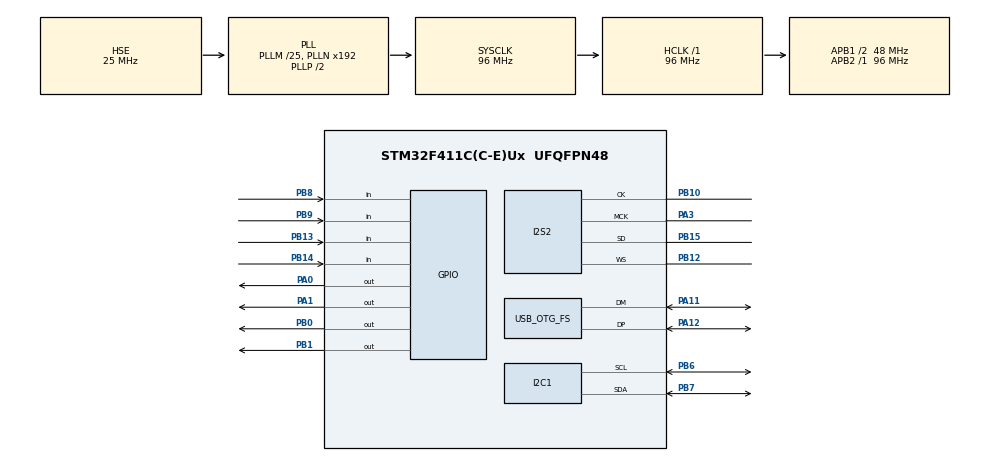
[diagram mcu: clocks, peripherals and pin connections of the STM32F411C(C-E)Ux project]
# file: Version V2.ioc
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Dma.Request0=SPI2_TX
Dma.SPI2_TX.0.Direction=DMA_MEMORY_TO_PERIPH
Dma.SPI2_TX.0.FIFOMode=DMA_FIFOMODE_DISABLE
Dma.SPI2_TX.0.Instance=DMA1_Stream4
Dma.SPI2_TX.0.MemDataAlignment=DMA_MDATAALIGN_HALFWORD
Dma.SPI2_TX.0.MemInc=DMA_MINC_ENABLE
Dma.SPI2_TX.0.Mode=DMA_CIRCULAR
Dma.SPI2_TX.0.PeriphDataAlignment=DMA_PDATAALIGN_HALFWORD
Dma.SPI2_TX.0.PeriphInc=DMA_PINC_DISABLE
Dma.SPI2_TX.0.Priority=DMA_PRIORITY_LOW
I2S2.AudioFreq=I2S_AUDIOFREQ_48K
I2S2.DataFormat=I2S_DATAFORMAT_24B
I2S2.ErrorAudioFreq=1.72 %
I2S2.FullDuplexMode=I2S_FULLDUPLEXMODE_DISABLE
I2S2.Instance=SPI$Index
I2S2.RealAudioFreq=48.828 KHz
I2S2.VirtualMode=I2S_MODE_MASTER
Mcu.Family=STM32F4
Mcu.Name=STM32F411C(C-E)Ux
Mcu.Package=UFQFPN48
NVIC.DMA1_Stream4_IRQn=true\:0\:0\:false\:false\:true\:false\:true\:true
NVIC.OTG_FS_IRQn=true\:0\:0\:false\:false\:true\:false\:true\:true
NVIC.PriorityGroup=NVIC_PRIORITYGROUP_4
PA0-WKUP.PinState=GPIO_PIN_SET
PA0-WKUP.Signal=GPIO_Output
PA1.PinState=GPIO_PIN_SET
PA1.Signal=GPIO_Output
PA11.Mode=Device_Only
PA11.Signal=USB_OTG_FS_DM
PA12.Mode=Device_Only
PA12.Signal=USB_OTG_FS_DP
PA13.Mode=Serial_Wire
PA13.Signal=SYS_JTMS-SWDIO
PA14.Mode=Serial_Wire
PA14.Signal=SYS_JTCK-SWCLK
PA3.Mode=Master_Clock_Activated
PA3.Signal=I2S2_MCK
PB0.PinState=GPIO_PIN_SET
PB0.Signal=GPIO_Output
PB1.PinState=GPIO_PIN_SET
PB1.Signal=GPIO_Output
PB10.Mode=Half_Duplex_Master
PB10.Signal=I2S2_CK
PB12.Mode=Half_Duplex_Master
PB12.Signal=I2S2_WS
PB13.GPIO_PuPd=GPIO_PULLUP
PB13.Signal=GPIO_Input
PB14.GPIO_PuPd=GPIO_PULLUP
PB14.Signal=GPIO_Input
PB15.Mode=Half_Duplex_Master
PB15.Signal=I2S2_SD
PB6.Mode=I2C
PB6.Signal=I2C1_SCL
PB7.Mode=I2C
PB7.Signal=I2C1_SDA
PB8.GPIO_PuPd=GPIO_PULLUP
PB8.Signal=GPIO_Input
PB9.GPIO_PuPd=GPIO_PULLUP
PB9.Signal=GPIO_Input
PH0\ -\ OSC_IN.Mode=HSE-External-Oscillator
PH0\ -\ OSC_IN.Signal=RCC_OSC_IN
PH1\ -\ OSC_OUT.Mode=HSE-External-Oscillator
PH1\ -\ OSC_OUT.Signal=RCC_OSC_OUT
ProjectManager.HeapSize=0x200
ProjectManager.StackSize=0x400
ProjectManager.TargetToolchain=STM32CubeIDE
RCC.48MHZClocksFreq_Value=48000000
RCC.AHBFreq_Value=96000000
RCC.APB1CLKDivider=RCC_HCLK_DIV2
RCC.APB1Freq_Value=48000000
RCC.APB1TimFreq_Value=96000000
RCC.APB2Freq_Value=96000000
RCC.APB2TimFreq_Value=96000000
RCC.CortexFreq_Value=96000000
RCC.HCLKFreq_Value=96000000
RCC.HSE_VALUE=25000000
RCC.HSI_VALUE=16000000
RCC.LSE_VALUE=32768
RCC.PLLM=25
RCC.SYSCLKFreq_VALUE=96000000
RCC.SYSCLKSource=RCC_SYSCLKSOURCE_PLLCLK
RCC.VCOOutputFreq_Value=192000000
USB_DEVICE.CLASS_NAME_FS=CDC
USB_DEVICE.VirtualMode=Cdc
USB_DEVICE.VirtualModeFS=Cdc_FS
USB_OTG_FS.VirtualMode=Device_Only
VP_USB_DEVICE_VS_USB_DEVICE_CDC_FS.Mode=CDC_FS
board=custom

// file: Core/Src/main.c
/* USER CODE BEGIN Header */
/**
  ******************************************************************************
  * @file           : main.c
  * @brief          : Main program body
  ******************************************************************************
  * @attention
  *
  * Copyright (c) 2026 STMicroelectronics.
  * All rights reserved.
  *
  * This software is licensed under terms that can be found in the LICENSE file
  * in the root directory of this software component.
  * If no LICENSE file comes with this software, it is provided AS-IS.
  *
  ******************************************************************************
  */
/* USER CODE END Header */
#include "main.h"
#include "usb_device.h"

/* USER CODE BEGIN Includes */
#include "sine_table.h"
#include "waveforms.h"
#include "oled.h"
#include "keypad.h"
#include <math.h>
/* USER CODE END Includes */

/* USER CODE BEGIN PTD */

typedef enum {

	LEFT,
	RIGHT

}canal_e;

typedef enum {

	OFF,
	ON

}estado_e;
/* USER CODE END PTD */

/* USER CODE BEGIN PD */
#define FS           48828.125         // fs REAL de la V2 (I2SCLK 100MHz / 2048)

#define FRAMES_HALF  256               // frames estéreo por media vuelta del DMA
#define FRAMES_TOTAL (2 * FRAMES_HALF) // frames en TODO el buffer (512)
#define BUF_HW       (FRAMES_TOTAL * 4)// halfwords totales: 2 canales x 2 hw c/u (2048)
#define I2S_SIZE     (FRAMES_TOTAL * 2)// "muestras de 32 bits" que le pasamos a la HAL (1024)

#define PCM_ADDR     (0x46 << 1)       // dirección I2C del codec: 7 bits corridos a 8
/* USER CODE END PD */

I2C_HandleTypeDef hi2c1;

I2S_HandleTypeDef hi2s2;
DMA_HandleTypeDef hdma_spi2_tx;

/* USER CODE BEGIN PV */
uint32_t          acc[2] = {0, 0};              // acumuladores de fase (uno por canal)
volatile uint32_t ftw[2] = {0, 0};              // FTW de cada canal (lo cambia el parser)
volatile uint8_t  canal_seleccionado = LEFT;                    // canal "activo" (el que edita el teclado)
uint16_t          audio_buf[BUF_HW];            // el buffer circular del DMA
volatile uint8_t  modo_diferencial = 1;         // 1 = salida diferencial, 0 = simple (single-ended)

// Parametros que llegan desde el USB o el teclado (uno por canal)
extern float frecuencia[2];
extern uint32_t amplitud[2];
extern volatile uint8_t salida_activa[2];
/* USER CODE END PV */

void SystemClock_Config(void);
static void MX_GPIO_Init(void);
static void MX_DMA_Init(void);
static void MX_I2C1_Init(void);
static void MX_I2S2_Init(void);
/* USER CODE BEGIN PFP */
static void fill(uint16_t *dst);
static void pcm_write(uint8_t reg, uint8_t val);
void PCM3060_SetAmplitude(uint8_t canal, uint32_t amplitud);
/* USER CODE END PFP */

int main(void)
{

  /* MCU Configuration--------------------------------------------------------*/

  /* Reset of all peripherals, Initializes the Flash interface and the Systick. */
  HAL_Init();

  /* Configure the system clock */
  SystemClock_Config();

  /* Initialize all configured peripherals */
  MX_GPIO_Init();
  MX_DMA_Init();
  MX_I2C1_Init();
  MX_I2S2_Init();
  MX_USB_DEVICE_Init();
  /* USER CODE BEGIN 2 */
  // Frecuencia inicial de cada canal
  ftw[0] = (uint32_t)(frecuencia[0] * 4294967296.0 / FS);
  ftw[1] = (uint32_t)(frecuencia[1] * 4294967296.0 / FS);

  // Precargo las DOS mitades ANTES de largar el DMA
  fill(&audio_buf[0]);
  fill(&audio_buf[BUF_HW / 2]);

  // Largo el I²S por DMA en modo circular (arranca y no para nunca)
  HAL_I2S_Transmit_DMA(&hi2s2, audio_buf, I2S_SIZE);

  // Le doy tiempo al codec a estabilizar sus relojes internos
  HAL_Delay(50);

  // Despierto el codec y subo volúmenes
  pcm_write(64, 0xE0);   // reg 64: saca el DAC de power-save (ON, salida DIFERENCIAL)
  pcm_write(65, 0xFF);   // reg 65: volumen DAC L = 0 dB
  pcm_write(66, 0xFF);   // reg 66: volumen DAC R = 0 dB

  // --- OLED + chirp por defecto ---
  oled_init();
  chirp_config(0, 200.0f, 2000.0f, 1.0f);   // chirp por defecto: 200 Hz -> 2 kHz en 1 s
  chirp_config(1, 200.0f, 2000.0f, 1.0f);
  keypad_init();                            // dejo las filas del teclado en alto
  /* USER CODE END 2 */

  /* Infinite loop */
  while (1)
  {

    /* USER CODE BEGIN 3 */

   // --- Actualizacion de frecuencia y amplitud (vienen del USB o del teclado) ---
   ftw[0] = (uint32_t)(frecuencia[0] * 4294967296.0 / FS);
   ftw[1] = (uint32_t)(frecuencia[1] * 4294967296.0 / FS);
   PCM3060_SetAmplitude(0, amplitud[0]);   // volumen del canal L (registro del codec)
   PCM3060_SetAmplitude(1, amplitud[1]);   // volumen del canal R (registro del codec)

   // --- modo de salida (diferencial / simple): se aplica solo cuando cambia ---
   static uint8_t last_modo = 0xFF;
   if (modo_diferencial != last_modo) {
       last_modo = modo_diferencial;
       pcm_write(64, modo_diferencial ? 0xE0 : 0xE1);
   }

   // --- teclado: escaneo cada 20 ms ---
   static uint32_t last_key = 0;
   if (HAL_GetTick() - last_key >= 20) {
       last_key = HAL_GetTick();
       keypad_process();
   }

   // --- refresco del OLED cada 200 ms ---
   static uint32_t last_oled = 0;
   if (HAL_GetTick() - last_oled >= 200) {
       last_oled = HAL_GetTick();
       oled_show(canal_seleccionado, waveform[canal_seleccionado],
                 (uint32_t)frecuencia[canal_seleccionado], (uint8_t)amplitud[canal_seleccionado]);
   }
  }
  /* USER CODE END 3 */
}

void SystemClock_Config(void)
{
  RCC_OscInitTypeDef RCC_OscInitStruct = {0};
  RCC_ClkInitTypeDef RCC_ClkInitStruct = {0};

  /** Configure the main internal regulator output voltage
  */
  __HAL_RCC_PWR_CLK_ENABLE();
  __HAL_PWR_VOLTAGESCALING_CONFIG(PWR_REGULATOR_VOLTAGE_SCALE1);

  /** Initializes the RCC Oscillators according to the specified parameters
  * in the RCC_OscInitTypeDef structure.
  */
  RCC_OscInitStruct.OscillatorType = RCC_OSCILLATORTYPE_HSE;
  RCC_OscInitStruct.HSEState = RCC_HSE_ON;
  RCC_OscInitStruct.PLL.PLLState = RCC_PLL_ON;
  RCC_OscInitStruct.PLL.PLLSource = RCC_PLLSOURCE_HSE;
  RCC_OscInitStruct.PLL.PLLM = 25;
  RCC_OscInitStruct.PLL.PLLN = 192;
  RCC_OscInitStruct.PLL.PLLP = RCC_PLLP_DIV2;
  RCC_OscInitStruct.PLL.PLLQ = 4;
  if (HAL_RCC_OscConfig(&RCC_OscInitStruct) != HAL_OK)
  {
    Error_Handler();
  }

  /** Initializes the CPU, AHB and APB buses clocks
  */
  RCC_ClkInitStruct.ClockType = RCC_CLOCKTYPE_HCLK|RCC_CLOCKTYPE_SYSCLK
                              |RCC_CLOCKTYPE_PCLK1|RCC_CLOCKTYPE_PCLK2;
  RCC_ClkInitStruct.SYSCLKSource = RCC_SYSCLKSOURCE_PLLCLK;
  RCC_ClkInitStruct.AHBCLKDivider = RCC_SYSCLK_DIV1;
  RCC_ClkInitStruct.APB1CLKDivider = RCC_HCLK_DIV2;
  RCC_ClkInitStruct.APB2CLKDivider = RCC_HCLK_DIV1;

  if (HAL_RCC_ClockConfig(&RCC_ClkInitStruct, FLASH_LATENCY_3) != HAL_OK)
  {
    Error_Handler();
  }
}

static void MX_I2C1_Init(void)
{

  hi2c1.Instance = I2C1;
  hi2c1.Init.ClockSpeed = 100000;
  hi2c1.Init.DutyCycle = I2C_DUTYCYCLE_2;
  hi2c1.Init.OwnAddress1 = 0;
  hi2c1.Init.AddressingMode = I2C_ADDRESSINGMODE_7BIT;
  hi2c1.Init.DualAddressMode = I2C_DUALADDRESS_DISABLE;
  hi2c1.Init.OwnAddress2 = 0;
  hi2c1.Init.GeneralCallMode = I2C_GENERALCALL_DISABLE;
  hi2c1.Init.NoStretchMode = I2C_NOSTRETCH_DISABLE;
  if (HAL_I2C_Init(&hi2c1) != HAL_OK)
  {
    Error_Handler();
  }

}

static void MX_I2S2_Init(void)
{

  hi2s2.Instance = SPI2;
  hi2s2.Init.Mode = I2S_MODE_MASTER_TX;
  hi2s2.Init.Standard = I2S_STANDARD_PHILIPS;
  hi2s2.Init.DataFormat = I2S_DATAFORMAT_24B;
  hi2s2.Init.MCLKOutput = I2S_MCLKOUTPUT_ENABLE;
  hi2s2.Init.AudioFreq = I2S_AUDIOFREQ_48K;
  hi2s2.Init.CPOL = I2S_CPOL_LOW;
  hi2s2.Init.ClockSource = I2S_CLOCK_PLL;
  hi2s2.Init.FullDuplexMode = I2S_FULLDUPLEXMODE_DISABLE;
  if (HAL_I2S_Init(&hi2s2) != HAL_OK)
  {
    Error_Handler();
  }

}

static void MX_DMA_Init(void)
{

  /* DMA controller clock enable */
  __HAL_RCC_DMA1_CLK_ENABLE();

  /* DMA interrupt init */
  /* DMA1_Stream4_IRQn interrupt configuration */
  HAL_NVIC_SetPriority(DMA1_Stream4_IRQn, 0, 0);
  HAL_NVIC_EnableIRQ(DMA1_Stream4_IRQn);

}

static void MX_GPIO_Init(void)
{
  GPIO_InitTypeDef GPIO_InitStruct = {0};

  /* GPIO Ports Clock Enable */
  __HAL_RCC_GPIOH_CLK_ENABLE();
  __HAL_RCC_GPIOA_CLK_ENABLE();
  __HAL_RCC_GPIOB_CLK_ENABLE();

  /*Configure GPIO pin Output Level */
  HAL_GPIO_WritePin(GPIOA, GPIO_PIN_0|GPIO_PIN_1, GPIO_PIN_SET);

  /*Configure GPIO pin Output Level */
  HAL_GPIO_WritePin(GPIOB, GPIO_PIN_0|GPIO_PIN_1, GPIO_PIN_SET);

  /*Configure GPIO pins : PA0 PA1 */
  GPIO_InitStruct.Pin = GPIO_PIN_0|GPIO_PIN_1;
  GPIO_InitStruct.Mode = GPIO_MODE_OUTPUT_PP;
  GPIO_InitStruct.Pull = GPIO_NOPULL;
  GPIO_InitStruct.Speed = GPIO_SPEED_FREQ_LOW;
  HAL_GPIO_Init(GPIOA, &GPIO_InitStruct);

  /*Configure GPIO pins : PB0 PB1 */
  GPIO_InitStruct.Pin = GPIO_PIN_0|GPIO_PIN_1;
  GPIO_InitStruct.Mode = GPIO_MODE_OUTPUT_PP;
  GPIO_InitStruct.Pull = GPIO_NOPULL;
  GPIO_InitStruct.Speed = GPIO_SPEED_FREQ_LOW;
  HAL_GPIO_Init(GPIOB, &GPIO_InitStruct);

  /*Configure GPIO pins : PB13 PB14 PB8 PB9 */
  GPIO_InitStruct.Pin = GPIO_PIN_13|GPIO_PIN_14|GPIO_PIN_8|GPIO_PIN_9;
  GPIO_InitStruct.Mode = GPIO_MODE_INPUT;
  GPIO_InitStruct.Pull = GPIO_PULLUP;
  HAL_GPIO_Init(GPIOB, &GPIO_InitStruct);

}

/* USER CODE BEGIN 4 */
// Llena UNA mitad del buffer: FRAMES_HALF frames (muestras estéreo)
static void fill(uint16_t *dst)
{
    for (int i = 0; i < FRAMES_HALF; i++)
    {
        int32_t s[2];                 // una muestra de 24 bits por canal (L y R)

        for (int c = 0; c < 2; c++)
        {
            int32_t v = wave_next(c);                  // avanza la fase y da la muestra segun la forma de onda
            if (!salida_activa[c]) v = 0;              // si el canal esta apagado -> silencio
            s[c] = v;                                  // si el canal está mudo → 0
        }

        // canal L: parto la muestra de 24 bits en 2 halfwords (MSB primero)
        *dst++ = (uint16_t)(s[0] >> 8);   // los 16 bits de arriba
        *dst++ = (uint16_t)(s[0] << 8);   // los 8 de abajo (+ relleno)
        // canal R
        *dst++ = (uint16_t)(s[1] >> 8);
        *dst++ = (uint16_t)(s[1] << 8);
    }
}

// El DMA terminó la 1ª mitad → la relleno
void HAL_I2S_TxHalfCpltCallback(I2S_HandleTypeDef *hi2s)
{
    fill(&audio_buf[0]);
}

// El DMA terminó la 2ª mitad → la relleno
void HAL_I2S_TxCpltCallback(I2S_HandleTypeDef *hi2s)
{
    fill(&audio_buf[BUF_HW / 2]);
}

// Escribe un byte en un registro del codec por I²C
static void pcm_write(uint8_t reg, uint8_t val)
{
    uint8_t buf[2] = { reg, val };
    HAL_I2C_Master_Transmit(&hi2c1, PCM_ADDR, buf, 2, HAL_MAX_DELAY);
}

void PCM3060_SetAmplitude(uint8_t canal, uint32_t amplitud) // Toma la variable amplitud traida por usb, la convierte a db y escr
{
    uint8_t reg = (canal == 0) ? 0x41 : 0x42;   // 0x41 = DAC L, 0x42 = DAC R

    if (amplitud == 0)
    {
        pcm_write(reg, 0x00);   // mute de ese canal
        return;
    }

    if (amplitud > 100)
        amplitud = 100;

    float A = amplitud / 100.0f;

    float db = 20.0f * log10f(A);

    int pasos = (int)roundf(-db / 0.5f);

    uint8_t valor = 255 - pasos;

    pcm_write(reg, valor);   // volumen de ese canal
}
/* USER CODE END 4 */

void Error_Handler(void)
{
  __disable_irq();
  while (1)
  {
  }
}
